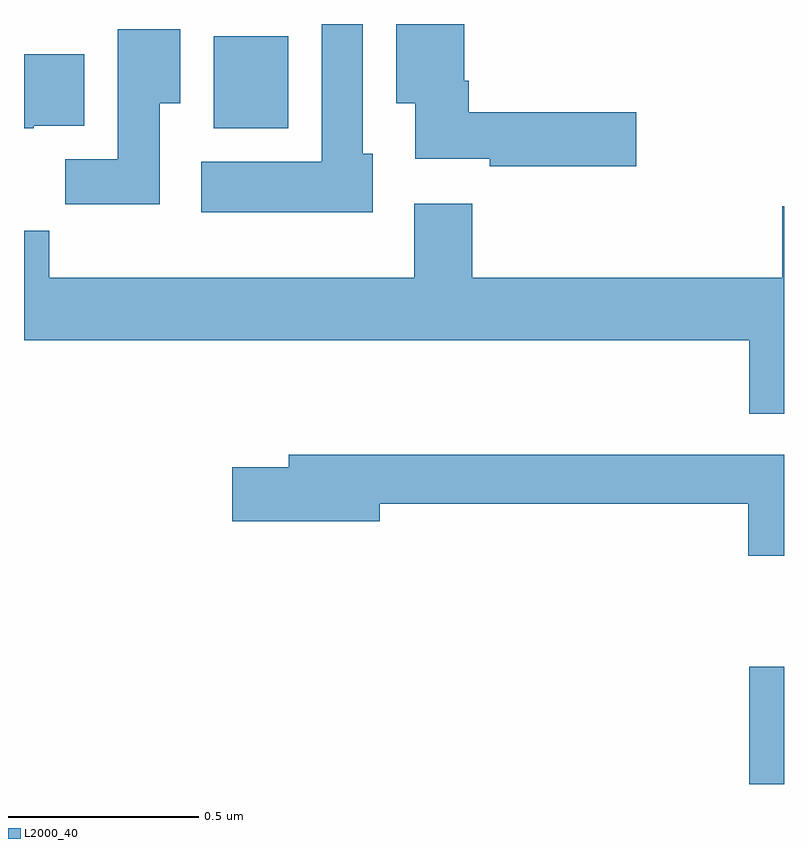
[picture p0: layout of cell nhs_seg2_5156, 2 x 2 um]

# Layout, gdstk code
import gdstk
lib = gdstk.Library(unit=1e-6, precision=1e-09)
def R(c, l, rs):  # rectangles x0, y0, x1, y1
    for r in rs: c.add(gdstk.rectangle(r[:2], r[2:], *l))
def P(c, l, *ps):  # polygons
    for p in ps: c.add(gdstk.Polygon(p, *l))
L2000_40 = (2000, 40)

nhs_seg2_5156 = lib.new_cell('nhs_seg2_5156')
R(nhs_seg2_5156, L2000_40, [(176.909,647.8,177,648.109), (175.499,649.526,175.696,649.768)])
P(nhs_seg2_5156, L2000_40, [(175.918,649.458),(175.891,649.458),(175.891,649.8),(175.784,649.8),(175.784,649.438),(175.467,649.438),(175.467,649.304),(175.918,649.304)],
  [(176.611,649.568),(176.171,649.568),(176.171,649.651),(176.158,649.651),(176.158,649.8),(175.979,649.8),(175.979,649.592),(176.03,649.592),(176.03,649.445),(176.226,649.445),(176.226,649.426),(176.611,649.426)],
  [(175.357,649.592),(175.411,649.592),(175.411,649.786),(175.247,649.786),(175.247,649.444),(175.108,649.444),(175.108,649.326),(175.357,649.326)],
  [(175.026,649.532),(175.159,649.532),(175.159,649.72),(175,649.72),(175,649.526),(175.026,649.526)],
  [(177,649.321),(176.996,649.321),(176.996,649.132),(176.18,649.132),(176.18,649.327),(176.027,649.327),(176.027,649.132),(175.067,649.132),(175.067,649.256),(175,649.256),(175,648.968),(176.909,648.968),(176.909,648.774),(177,648.774)],
  [(177,648.667),(175.697,648.667),(175.697,648.633),(175.548,648.633),(175.548,648.491),(175.936,648.491),(175.936,648.538),(176.906,648.538),(176.906,648.401),(177,648.401)])

lib.write_gds('nhs_seg2_5156.gds')
